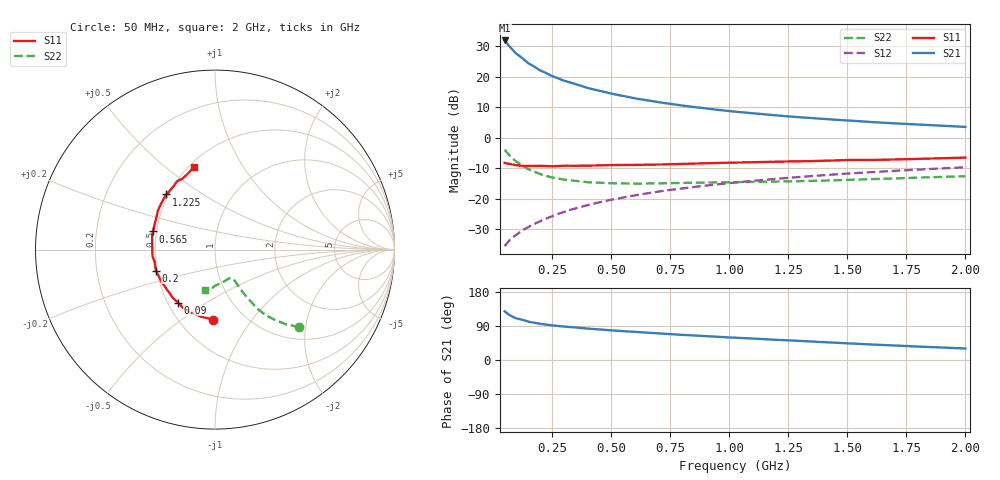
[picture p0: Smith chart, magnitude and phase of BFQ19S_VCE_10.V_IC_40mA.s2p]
! Infineon Technologies  Discrete & RF Semiconductors
! BFQ19S
! VCE =  10. V,  IC =  40 mA
! Common Emitter S-Parameters:  Jan 2016
# GHz  S  MA  R  50
!  f  S11  S21  S12  S22
! GHz  MAG  ANG  MAG  ANG  MAG  ANG  MAG  ANG
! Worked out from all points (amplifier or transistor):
!   391 points, 50 MHz to 2 GHz, reference 50 ohm
!   highest |S21| = 31.9 dB at 50 MHz (marker M1)
!   |S21| within 3 dB of that: start of sweep to 82.91 MHz
!   unconditionally stable (mu >= 1): 345.4 MHz to 1.483 GHz; 1.557 GHz to 1.622 GHz
!   at 375 MHz: K = 1.01, MAG = 19.2 dB, |S12| = -22.6 dB
!   at 1.025 GHz: K = 1.03, MAG = 10.6 dB, |S12| = -14.6 dB
!   at 2 GHz: K = 0.96, MSG = 6.6 dB, |S12| = -9.6 dB
!   S11 on the Smith chart (normalised r, x): 50 MHz: 0.72, -0.67; 90 MHz: 0.57, -0.38; 200 MHz: 0.49, -0.13; 565 MHz: 0.48, +0.11; 1.225 GHz: 0.49, +0.36; 2 GHz: 0.53, +0.63
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0.05  0.3897 -91.4  39.52 128.4  0.0168 65.0  0.6378 -42.6
0.06  0.382 -101.7  35.35 123.2  0.0187 65.0  0.575 -46.4
0.07  0.3759 -111.6  31.75 118.9  0.0208 64.4  0.5217 -49.2
0.08  0.3699 -118.7  28.74 115.3  0.0224 64.4  0.4771 -51.4
0.09  0.3598 -124.8  26.15 112.3  0.0244 64.8  0.4391 -53.1
0.1  0.3575 -130.7  23.91 109.7  0.0259 65.4  0.4068 -54.3
0.15  0.3477 -148.8  16.72 101.0  0.0347 68.1  0.3062 -56.6
0.2  0.3493 -160.5  12.8 95.4  0.043 69.9  0.2546 -57.2
0.25  0.3431 -168.3  10.34 91.4  0.0519 71.0  0.2246 -57.5
0.3  0.35 -174.2  8.687 88.2  0.0611 71.3  0.207 -57.6
0.375  0.3495 178.2  7.099 84.4  0.0744 71.5  0.1924 -58.6
0.4  0.3507 175.7  6.578 82.8  0.0788 71.6  0.1875 -58.9
0.5  0.3592 167.4  5.315 78.2  0.0965 71.0  0.1807 -61.0
0.565  0.3598 163.7  4.753 75.7  0.1079 70.2  0.1788 -62.9
0.6  0.3608 161.7  4.455 74.1  0.114 69.9  0.1779 -63.9
0.7  0.3652 156.1  3.849 70.2  0.1317 68.8  0.1799 -67.2
0.88  0.3822 147.0  3.101 63.7  0.1617 66.3  0.1843 -73.5
1.03  0.3943 139.7  2.681 58.7  0.1861 64.1  0.1883 -78.2
1.225  0.4095 131.4  2.287 52.5  0.2173 61.2  0.1933 -84.1
1.35  0.4165 125.6  2.109 48.8  0.2368 59.2  0.1972 -87.5
1.675  0.4404 112.5  1.753 39.0  0.2848 53.9  0.2159 -95.2
2  0.4751 104.4  1.513 30.3  0.33 49.0  0.2348 -104.0
